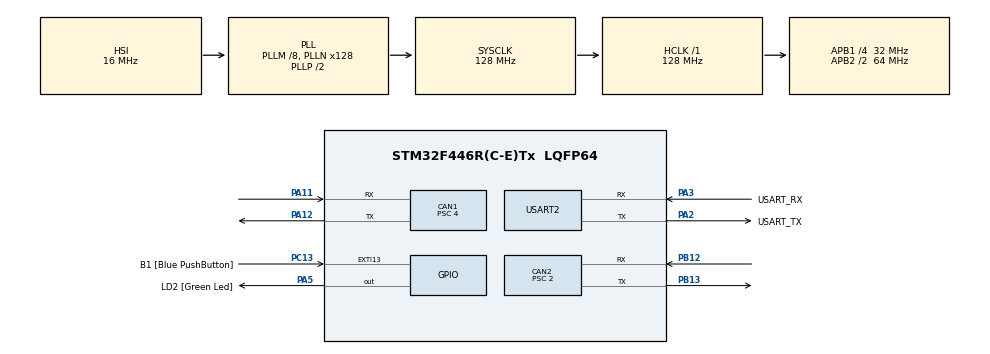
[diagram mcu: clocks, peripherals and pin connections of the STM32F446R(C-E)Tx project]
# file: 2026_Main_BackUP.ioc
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CAN1.BS1=CAN_BS1_12TQ
CAN1.BS2=CAN_BS2_3TQ
CAN1.CalculateBaudRate=500000
CAN1.CalculateTimeBit=2000
CAN1.CalculateTimeQuantum=125.0
CAN1.Prescaler=4
CAN2.BS1=CAN_BS1_12TQ
CAN2.BS2=CAN_BS2_3TQ
CAN2.CalculateBaudRate=1000000
CAN2.CalculateTimeBit=1000
CAN2.CalculateTimeQuantum=62.5
CAN2.Prescaler=2
Mcu.Family=STM32F4
Mcu.Name=STM32F446R(C-E)Tx
Mcu.Package=LQFP64
NVIC.CAN1_RX0_IRQn=true\:0\:0\:false\:false\:true\:true\:true\:true
NVIC.CAN1_RX1_IRQn=true\:0\:0\:false\:false\:true\:true\:true\:true
NVIC.CAN1_TX_IRQn=true\:0\:0\:false\:false\:true\:true\:true\:true
NVIC.CAN2_RX0_IRQn=true\:0\:0\:false\:false\:true\:true\:true\:true
NVIC.CAN2_RX1_IRQn=true\:0\:0\:false\:false\:true\:true\:true\:true
NVIC.CAN2_TX_IRQn=true\:0\:0\:false\:false\:true\:true\:true\:true
NVIC.PriorityGroup=NVIC_PRIORITYGROUP_0
NVIC.TIM6_DAC_IRQn=true\:0\:0\:false\:false\:true\:true\:true\:true
PA11.Mode=CAN_Activate
PA11.Signal=CAN1_RX
PA12.Mode=CAN_Activate
PA12.Signal=CAN1_TX
PA13.GPIO_Label=TMS
PA13.Mode=Serial_Wire
PA13.Signal=SYS_JTMS-SWDIO
PA14.GPIO_Label=TCK
PA14.Mode=Serial_Wire
PA14.Signal=SYS_JTCK-SWCLK
PA2.GPIO_Label=USART_TX
PA2.Mode=Asynchronous
PA2.Signal=USART2_TX
PA3.GPIO_Label=USART_RX
PA3.Mode=Asynchronous
PA3.Signal=USART2_RX
PA5.GPIO_Label=LD2 [Green Led]
PA5.Signal=GPIO_Output
PB12.Mode=CAN_Activate
PB12.Signal=CAN2_RX
PB13.Mode=CAN_Activate
PB13.Signal=CAN2_TX
PB3.GPIO_Label=SWO
PB3.Signal=SYS_JTDO-SWO
PC13.GPIO_Label=B1 [Blue PushButton]
PC13.GPIO_ModeDefaultEXTI=GPIO_MODE_IT_FALLING
PC13.Signal=GPXTI13
PC14-OSC32_IN.Mode=LSE-External-Oscillator
PC14-OSC32_IN.Signal=RCC_OSC32_IN
PC15-OSC32_OUT.Mode=LSE-External-Oscillator
PC15-OSC32_OUT.Signal=RCC_OSC32_OUT
PH0-OSC_IN.Mode=HSE-External-Oscillator
PH0-OSC_IN.Signal=RCC_OSC_IN
PH1-OSC_OUT.Mode=HSE-External-Oscillator
PH1-OSC_OUT.Signal=RCC_OSC_OUT
ProjectManager.HeapSize=0x200
ProjectManager.StackSize=0x400
ProjectManager.TargetToolchain=CMake
RCC.48MHZClocksFreq_Value=84000000
RCC.AHBFreq_Value=128000000
RCC.APB1CLKDivider=RCC_HCLK_DIV4
RCC.APB1Freq_Value=32000000
RCC.APB1TimFreq_Value=64000000
RCC.APB2CLKDivider=RCC_HCLK_DIV2
RCC.APB2Freq_Value=64000000
RCC.APB2TimFreq_Value=128000000
RCC.CortexFreq_Value=128000000
RCC.FLatency-AdvancedSettings=FLASH_LATENCY_4
RCC.HCLKFreq_Value=128000000
RCC.HSE_VALUE=8000000
RCC.HSI_VALUE=16000000
RCC.PLLM=8
RCC.PLLN=128
RCC.SYSCLKFreq_VALUE=128000000
RCC.SYSCLKSource=RCC_SYSCLKSOURCE_PLLCLK
RCC.USBFreq_Value=128000000
RCC.VCOOutputFreq_Value=256000000
TIM6.AutoReloadPreload=TIM_AUTORELOAD_PRELOAD_ENABLE
TIM6.Period=1000
TIM6.Prescaler=64000
USART2.VirtualMode=VM_ASYNC
VP_TIM6_VS_ClockSourceINT.Mode=Enable_Timer
board=NUCLEO-F446RE

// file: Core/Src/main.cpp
/* USER CODE BEGIN Header */
/**
  ******************************************************************************
  * @file           : main.c
  * @brief          : Main program body
  ******************************************************************************
  * @attention
  *
  * Copyright (c) 2026 STMicroelectronics.
  * All rights reserved.
  *
  * This software is licensed under terms that can be found in the LICENSE file
  * in the root directory of this software component.
  * If no LICENSE file comes with this software, it is provided AS-IS.
  *
  ******************************************************************************
  */
/* USER CODE END Header */
#include "main.h"

/* USER CODE BEGIN Includes */

#include "../../lib/RoboMaster/RMaster.h"
#include "../../lib/RoboMaster/M2006.h"
#include "../../lib/RoboMaster/M3508.h"
#include "../../lib/ISS/ISS_SBUS16.h"
#include <cmath>

/* USER CODE END Includes */

/* USER CODE BEGIN PD */
#define Ach 5
#define Bch 6
#define Cch 7
#define Dch 8
#define Ech 9
#define Fch 10
#define Gch 11
#define Hch 12

#define __PI__ (3.14159265358979323846)

/* USER CODE END PD */

CAN_HandleTypeDef hcan1;
CAN_HandleTypeDef hcan2;

TIM_HandleTypeDef htim6;

UART_HandleTypeDef huart2;

void SystemClock_Config(void);
static void MX_GPIO_Init(void);
static void MX_USART2_UART_Init(void);
static void MX_CAN1_Init(void);
static void MX_CAN2_Init(void);
static void MX_TIM6_Init(void);

/* USER CODE BEGIN 0 */

ISS_SBUS16 sbus;
double hogehoge[4] = {0};

RoboMas *rMasPtr;

typedef struct flags {
	uint32_t isAction: 1;
};

flags flag;
bool Flag;
void HAL_CAN_RxFifo1MsgPendingCallback(CAN_HandleTypeDef *hcan) {
	HAL_GPIO_WritePin(GPIOA, GPIO_PIN_5, GPIO_PIN_SET);
	if (hcan->Instance == CAN1) {
		uint32_t id;
		uint8_t RxData[8];
		uint32_t dlc;
		CAN_RxHeaderTypeDef RxHeader;
	    if (HAL_CAN_GetRxMessage(hcan, CAN_RX_FIFO1, &RxHeader, RxData) == HAL_OK) {
	        id = (RxHeader.IDE == CAN_ID_STD)? RxHeader.StdId : RxHeader.ExtId;
	        dlc = RxHeader.DLC;
	        HAL_GPIO_WritePin(GPIOA, GPIO_PIN_5, GPIO_PIN_SET);
	        sbus.receive(id, RxData);
	    }else {
	    	//HAL_GPIO_WritePin(GPIOA, GPIO_PIN_5, GPIO_PIN_SET);
	    }
	}
	if (HAL_CAN_GetError(hcan) != HAL_CAN_ERROR_NONE) {
	        HAL_CAN_ResetError(hcan);
	}
}
void HAL_CAN_RxFifo0MsgPendingCallback(CAN_HandleTypeDef *hcan){

	if(hcan->Instance == CAN2){
		rMasPtr->readProcess(hcan);
	}
	if (HAL_CAN_GetError(hcan) != HAL_CAN_ERROR_NONE) {
	        HAL_CAN_ResetError(hcan);
	}
}

double my_abs(double x) {
	  if(x < 0) return -1 * x;
	  return x;
}

/* USER CODE END 0 */

int main(void)
{

  /* USER CODE BEGIN 1 */
	double omni_sin[4] = {
			sin(3*__PI__/4),
			sin(5*__PI__/4),
			sin(7*__PI__/4),
			sin(9*__PI__/4),
	};
	double omni_cos[4] = {
				cos(3*__PI__/4),
				cos(5*__PI__/4),
				cos(7*__PI__/4),
				cos(9*__PI__/4),
		};
  /* USER CODE END 1 */

  /* MCU Configuration--------------------------------------------------------*/

  /* Reset of all peripherals, Initializes the Flash interface and the Systick. */
  HAL_Init();

  /* Configure the system clock */
  SystemClock_Config();

  /* Initialize all configured peripherals */
  MX_GPIO_Init();
  MX_USART2_UART_Init();
  MX_CAN1_Init();
  MX_CAN2_Init();
  MX_TIM6_Init();
  /* USER CODE BEGIN 2 */
  HAL_GPIO_WritePin(GPIOA, GPIO_PIN_5, GPIO_PIN_SET);
  CAN_FilterTypeDef filter1;
  filter1.FilterIdHigh         = 0;
  filter1.FilterIdLow          = 0;
  filter1.FilterMaskIdHigh     = 0;
  filter1.FilterMaskIdLow      = 0;
  filter1.FilterScale          = CAN_FILTERSCALE_32BIT;
  filter1.FilterFIFOAssignment = CAN_FILTER_FIFO1;
  filter1.FilterBank           = 0;
  filter1.SlaveStartFilterBank = 14;
  filter1.FilterMode           = CAN_FILTERMODE_IDMASK;
  filter1.FilterActivation     = ENABLE;
  HAL_CAN_ConfigFilter(&hcan1, &filter1);
  if(HAL_CAN_Start(&hcan1) != HAL_OK) {
	  HAL_GPIO_WritePin(GPIOA, GPIO_PIN_5, GPIO_PIN_SET);
	  Error_Handler();
  }

  CAN_FilterTypeDef filter2;
  filter2.FilterIdHigh         = 0;
  filter2.FilterIdLow          = 0;
  filter2.FilterMaskIdHigh     = 0;
  filter2.FilterMaskIdLow      = 0;
  filter2.FilterScale          = CAN_FILTERSCALE_32BIT;
  filter2.FilterFIFOAssignment = CAN_FILTER_FIFO0;
  filter2.FilterBank           = 14;
  filter2.SlaveStartFilterBank = 14;
  filter2.FilterMode           = CAN_FILTERMODE_IDMASK;
  filter2.FilterActivation     = ENABLE;
  HAL_CAN_ConfigFilter(&hcan2, &filter2);
  if(HAL_CAN_Start(&hcan2) != HAL_OK) {
	  // HAL_GPIO_WritePin(GPIOA, GPIO_PIN_5, GPIO_PIN_SET);
	  Error_Handler();
  }

  RoboMas rMas(&hcan2);
  rMasPtr = &rMas;
  M3508 omni1(1, {0.0006, 0, 0.000000}, {0.0, 0.0, 0.0});
  M3508 omni2(2, {0.0006, 0, 0.000000}, {0.0, 0.0, 0.0});
  M3508 omni3(3, {0.0006, 0, 0.000000}, {0.0, 0.0, 0.0});
  M3508 omni4(4, {0.0006, 0, 0.000000}, {0.0, 0.0, 0.0});

  rMas.addMotor(&omni1);
  rMas.addMotor(&omni2);
  rMas.addMotor(&omni3);
  rMas.addMotor(&omni4);
  HAL_CAN_ActivateNotification(&hcan1, CAN_IT_RX_FIFO1_MSG_PENDING);
  HAL_CAN_ActivateNotification(&hcan2, CAN_IT_RX_FIFO0_MSG_PENDING);
  HAL_TIM_Base_Init(&htim6);
  HAL_TIM_Base_Start_IT(&htim6);
  // HAL_Delay(50);
  HAL_GPIO_WritePin(GPIOA, GPIO_PIN_5, GPIO_PIN_RESET);
  //HAL_GPIO_WritePin(GPIOA, GPIO_PIN_5, GPIO_PIN_SET);

  /* USER CODE END 2 */

  /* Infinite loop */
  /* USER CODE BEGIN WHILE */
  while (1)
  {
	  while(__HAL_TIM_GET_COUNTER(&htim6) < 10);
	  __HAL_TIM_SET_COUNTER(&htim6, 0);

	  double direction = sqrt(sbus.getStick(sbus.LeftX)*sbus.getStick(sbus.LeftX)+sbus.getStick(sbus.LeftY)*sbus.getStick(sbus.LeftY));
	  double rotate = sbus.getStick(sbus.RightX);
	  double dirX = sbus.getStick(sbus.LeftX)*-1;
	  double dirY = sbus.getStick(sbus.LeftY);

	  double speed[4];
	  speed[0] = dirY - dirX + rotate;
	  speed[1] = -dirY - dirX + rotate;
	  speed[2] = -dirY + dirX + rotate;
	  speed[3] = dirY + dirX + rotate;

	  double karioki = my_abs(speed[0]);
	  for(int i = 0; i < 4; i++) {
		  if(karioki < my_abs(speed[i])) karioki = my_abs(speed[i]);
		  if(my_abs(speed[i]) < 6) {
			  speed[i] = 0;
		  }
		  hogehoge[i] = speed[i];
	  }
	  if(karioki > 265) {
		  for(int i = 0; i < 4; i++) {
			  speed[i] /= karioki;
			  speed[i] *= 265;
		  }
	  }
	  omni1.speedPidProcess((int16_t)(speed[0]*10), 0.01);
	  omni2.speedPidProcess((int16_t)(speed[1]*10), 0.01);
	  omni3.speedPidProcess((int16_t)(speed[2]*10), 0.01);
	  omni4.speedPidProcess((int16_t)(speed[3]*10), 0.01);

	  rMas.sendProcess();
	  sbus.recieveDelayUpdate(0.01);

    /* USER CODE END WHILE */

  }
}

void SystemClock_Config(void)
{
  RCC_OscInitTypeDef RCC_OscInitStruct = {0};
  RCC_ClkInitTypeDef RCC_ClkInitStruct = {0};

  /** Configure the main internal regulator output voltage
  */
  __HAL_RCC_PWR_CLK_ENABLE();
  __HAL_PWR_VOLTAGESCALING_CONFIG(PWR_REGULATOR_VOLTAGE_SCALE2);

  /** Initializes the RCC Oscillators according to the specified parameters
  * in the RCC_OscInitTypeDef structure.
  */
  RCC_OscInitStruct.OscillatorType = RCC_OSCILLATORTYPE_HSI;
  RCC_OscInitStruct.HSIState = RCC_HSI_ON;
  RCC_OscInitStruct.HSICalibrationValue = RCC_HSICALIBRATION_DEFAULT;
  RCC_OscInitStruct.PLL.PLLState = RCC_PLL_ON;
  RCC_OscInitStruct.PLL.PLLSource = RCC_PLLSOURCE_HSI;
  RCC_OscInitStruct.PLL.PLLM = 8;
  RCC_OscInitStruct.PLL.PLLN = 128;
  RCC_OscInitStruct.PLL.PLLP = RCC_PLLP_DIV2;
  RCC_OscInitStruct.PLL.PLLQ = 2;
  RCC_OscInitStruct.PLL.PLLR = 2;
  if (HAL_RCC_OscConfig(&RCC_OscInitStruct) != HAL_OK)
  {
    Error_Handler();
  }

  /** Initializes the CPU, AHB and APB buses clocks
  */
  RCC_ClkInitStruct.ClockType = RCC_CLOCKTYPE_HCLK|RCC_CLOCKTYPE_SYSCLK
                              |RCC_CLOCKTYPE_PCLK1|RCC_CLOCKTYPE_PCLK2;
  RCC_ClkInitStruct.SYSCLKSource = RCC_SYSCLKSOURCE_PLLCLK;
  RCC_ClkInitStruct.AHBCLKDivider = RCC_SYSCLK_DIV1;
  RCC_ClkInitStruct.APB1CLKDivider = RCC_HCLK_DIV4;
  RCC_ClkInitStruct.APB2CLKDivider = RCC_HCLK_DIV2;

  if (HAL_RCC_ClockConfig(&RCC_ClkInitStruct, FLASH_LATENCY_4) != HAL_OK)
  {
    Error_Handler();
  }
}

static void MX_CAN1_Init(void)
{

  hcan1.Instance = CAN1;
  hcan1.Init.Prescaler = 4;
  hcan1.Init.Mode = CAN_MODE_NORMAL;
  hcan1.Init.SyncJumpWidth = CAN_SJW_1TQ;
  hcan1.Init.TimeSeg1 = CAN_BS1_12TQ;
  hcan1.Init.TimeSeg2 = CAN_BS2_3TQ;
  hcan1.Init.TimeTriggeredMode = DISABLE;
  hcan1.Init.AutoBusOff = DISABLE;
  hcan1.Init.AutoWakeUp = DISABLE;
  hcan1.Init.AutoRetransmission = DISABLE;
  hcan1.Init.ReceiveFifoLocked = DISABLE;
  hcan1.Init.TransmitFifoPriority = DISABLE;
  if (HAL_CAN_Init(&hcan1) != HAL_OK)
  {
    Error_Handler();
  }

}

static void MX_CAN2_Init(void)
{

  hcan2.Instance = CAN2;
  hcan2.Init.Prescaler = 2;
  hcan2.Init.Mode = CAN_MODE_NORMAL;
  hcan2.Init.SyncJumpWidth = CAN_SJW_1TQ;
  hcan2.Init.TimeSeg1 = CAN_BS1_12TQ;
  hcan2.Init.TimeSeg2 = CAN_BS2_3TQ;
  hcan2.Init.TimeTriggeredMode = DISABLE;
  hcan2.Init.AutoBusOff = DISABLE;
  hcan2.Init.AutoWakeUp = DISABLE;
  hcan2.Init.AutoRetransmission = DISABLE;
  hcan2.Init.ReceiveFifoLocked = DISABLE;
  hcan2.Init.TransmitFifoPriority = DISABLE;
  if (HAL_CAN_Init(&hcan2) != HAL_OK)
  {
    Error_Handler();
  }

}

static void MX_TIM6_Init(void)
{

  TIM_MasterConfigTypeDef sMasterConfig = {0};

  htim6.Instance = TIM6;
  htim6.Init.Prescaler = 64000;
  htim6.Init.CounterMode = TIM_COUNTERMODE_UP;
  htim6.Init.Period = 1000;
  htim6.Init.AutoReloadPreload = TIM_AUTORELOAD_PRELOAD_ENABLE;
  if (HAL_TIM_Base_Init(&htim6) != HAL_OK)
  {
    Error_Handler();
  }
  sMasterConfig.MasterOutputTrigger = TIM_TRGO_RESET;
  sMasterConfig.MasterSlaveMode = TIM_MASTERSLAVEMODE_DISABLE;
  if (HAL_TIMEx_MasterConfigSynchronization(&htim6, &sMasterConfig) != HAL_OK)
  {
    Error_Handler();
  }

}

static void MX_USART2_UART_Init(void)
{

  huart2.Instance = USART2;
  huart2.Init.BaudRate = 115200;
  huart2.Init.WordLength = UART_WORDLENGTH_8B;
  huart2.Init.StopBits = UART_STOPBITS_1;
  huart2.Init.Parity = UART_PARITY_NONE;
  huart2.Init.Mode = UART_MODE_TX_RX;
  huart2.Init.HwFlowCtl = UART_HWCONTROL_NONE;
  huart2.Init.OverSampling = UART_OVERSAMPLING_16;
  if (HAL_UART_Init(&huart2) != HAL_OK)
  {
    Error_Handler();
  }

}

static void MX_GPIO_Init(void)
{
  GPIO_InitTypeDef GPIO_InitStruct = {0};

  /* GPIO Ports Clock Enable */
  __HAL_RCC_GPIOC_CLK_ENABLE();
  __HAL_RCC_GPIOH_CLK_ENABLE();
  __HAL_RCC_GPIOA_CLK_ENABLE();
  __HAL_RCC_GPIOB_CLK_ENABLE();

  /*Configure GPIO pin Output Level */
  HAL_GPIO_WritePin(LD2_GPIO_Port, LD2_Pin, GPIO_PIN_RESET);

  /*Configure GPIO pin : B1_Pin */
  GPIO_InitStruct.Pin = B1_Pin;
  GPIO_InitStruct.Mode = GPIO_MODE_IT_FALLING;
  GPIO_InitStruct.Pull = GPIO_NOPULL;
  HAL_GPIO_Init(B1_GPIO_Port, &GPIO_InitStruct);

  /*Configure GPIO pin : LD2_Pin */
  GPIO_InitStruct.Pin = LD2_Pin;
  GPIO_InitStruct.Mode = GPIO_MODE_OUTPUT_PP;
  GPIO_InitStruct.Pull = GPIO_NOPULL;
  GPIO_InitStruct.Speed = GPIO_SPEED_FREQ_LOW;
  HAL_GPIO_Init(LD2_GPIO_Port, &GPIO_InitStruct);

}

void Error_Handler(void)
{
  __disable_irq();
  while (1)
  {
  }
}
